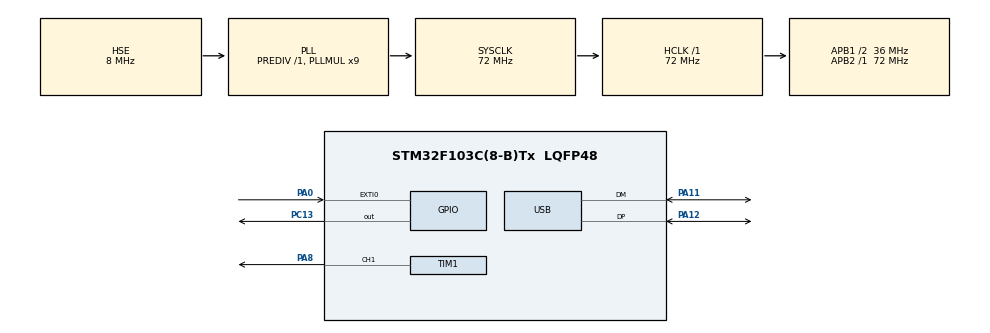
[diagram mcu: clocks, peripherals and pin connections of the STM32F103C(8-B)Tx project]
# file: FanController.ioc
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Mcu.Family=STM32F1
Mcu.Name=STM32F103C(8-B)Tx
Mcu.Package=LQFP48
NVIC.EXTI0_IRQn=true\:0\:0\:false\:false\:true\:true\:true\:true
NVIC.PriorityGroup=NVIC_PRIORITYGROUP_4
NVIC.USB_LP_CAN1_RX0_IRQn=true\:0\:0\:false\:false\:true\:false\:true\:true
PA0-WKUP.GPIO_ModeDefaultEXTI=GPIO_MODE_IT_FALLING
PA0-WKUP.GPIO_PuPd=GPIO_PULLUP
PA0-WKUP.Signal=GPXTI0
PA11.Mode=Device
PA11.Signal=USB_DM
PA12.Mode=Device
PA12.Signal=USB_DP
PA13.Mode=Serial_Wire
PA13.Signal=SYS_JTMS-SWDIO
PA14.Mode=Serial_Wire
PA14.Signal=SYS_JTCK-SWCLK
PA8.Signal=S_TIM1_CH1
PC13-TAMPER-RTC.Signal=GPIO_Output
PD0-OSC_IN.Mode=HSE-External-Oscillator
PD0-OSC_IN.Signal=RCC_OSC_IN
PD1-OSC_OUT.Mode=HSE-External-Oscillator
PD1-OSC_OUT.Signal=RCC_OSC_OUT
ProjectManager.HeapSize=0x200
ProjectManager.StackSize=0x400
ProjectManager.TargetToolchain=CMake
RCC.AHBFreq_Value=72000000
RCC.APB1CLKDivider=RCC_HCLK_DIV2
RCC.APB1Freq_Value=36000000
RCC.APB1TimFreq_Value=72000000
RCC.APB2Freq_Value=72000000
RCC.APB2TimFreq_Value=72000000
RCC.HCLKFreq_Value=72000000
RCC.PLLMUL=RCC_PLL_MUL9
RCC.SYSCLKFreq_VALUE=72000000
RCC.SYSCLKSource=RCC_SYSCLKSOURCE_PLLCLK
RCC.USBFreq_Value=48000000
RCC.USBPrescaler=RCC_USBCLKSOURCE_PLL_DIV1_5
SH.S_TIM1_CH1.0=TIM1_CH1,PWM Generation1 CH1
TIM1.Channel-PWM\ Generation1\ CH1=TIM_CHANNEL_1
TIM1.Period=319
TIM1.Prescaler=8
USB_DEVICE.CLASS_NAME_FS=CDC
USB_DEVICE.VirtualMode=Cdc
USB_DEVICE.VirtualModeFS=Cdc_FS
VP_TIM1_VS_ClockSourceINT.Mode=Internal
VP_USB_DEVICE_VS_USB_DEVICE_CDC_FS.Mode=CDC_FS
board=custom

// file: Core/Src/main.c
/* USER CODE BEGIN Header */
/**
  ******************************************************************************
  * @file           : main.c
  * @brief          : Main program body
  ******************************************************************************
  * @attention
  *
  * Copyright (c) 2026 STMicroelectronics.
  * All rights reserved.
  *
  * This software is licensed under terms that can be found in the LICENSE file
  * in the root directory of this software component.
  * If no LICENSE file comes with this software, it is provided AS-IS.
  *
  ******************************************************************************
  */
/* USER CODE END Header */
#include "main.h"
#include "usb_device.h"

/* USER CODE BEGIN Includes */
#include "usbd_cdc_if.h"
#include <stdio.h>
#include <string.h>
#include <stdlib.h>
/* USER CODE END Includes */

TIM_HandleTypeDef htim1;

/* USER CODE BEGIN PV */
volatile uint32_t tach_pulse_count = 0;
uint32_t fan_rpm = 0;
uint32_t last_rpm_tick = 0;
uint32_t last_led_tick = 0;

char usb_rx_buffer[64];
volatile uint8_t usb_cmd_ready = 0;
uint16_t current_pwm = 160; // 預設約 50% (0~319)
/* USER CODE END PV */

void SystemClock_Config(void);
static void MX_GPIO_Init(void);
static void MX_TIM1_Init(void);
/* USER CODE BEGIN PFP */
void HAL_TIM_MspPostInit(TIM_HandleTypeDef *htim);
/* USER CODE END PFP */

int main(void)
{

  /* MCU Configuration--------------------------------------------------------*/

  /* Reset of all peripherals, Initializes the Flash interface and the Systick. */
  HAL_Init();

  /* Configure the system clock */
  SystemClock_Config();

  /* Initialize all configured peripherals */
  MX_GPIO_Init();
  MX_TIM1_Init();
  MX_USB_DEVICE_Init();
  /* USER CODE BEGIN 2 */

  // 啟動 TIM1 的 Channel 1 PWM 輸出
  HAL_TIM_PWM_Start(&htim1, TIM_CHANNEL_1);

  // 設定 PWM 的佔空比 (Duty Cycle)
  // 因為我們的 ARR 設定為 319，所以轉速的範圍是 0 (停止) 到 319 (全速)
  // 我們先設定 160，大約是 50% 的轉速
  __HAL_TIM_SET_COMPARE(&htim1, TIM_CHANNEL_1, 10);

  /* USER CODE END 2 */

  /* Infinite loop */
  /* USER CODE BEGIN WHILE */
  while (1)
  {
    uint32_t now = HAL_GetTick();

    // 1. 處理 PC 傳來的 USB 指令 (非阻塞)
    if (usb_cmd_ready)
    {
      usb_cmd_ready = 0;
      if (strncmp(usb_rx_buffer, "PWM:", 4) == 0)
      {
        int val = atoi(&usb_rx_buffer[4]);
        if (val >= 0 && val <= 319)
        {
          current_pwm = (uint16_t)val;
          __HAL_TIM_SET_COMPARE(&htim1, TIM_CHANNEL_1, current_pwm);
        }
      }
    }

    // 2. 每 1000ms 精準結算一次 RPM 並透過 USB 回傳給 PC
    if (now - last_rpm_tick >= 1000)
    {
      // 暫時關閉中斷或直接讀取並清零，避免 Race Condition
      uint32_t pulses = tach_pulse_count;
      tach_pulse_count = 0;
      last_rpm_tick = now;

      fan_rpm = (pulses / 2) * 60;

      // 組裝字串並透過 USB CDC 發送給 PC
      char tx_buf[64];
      int len = snprintf(tx_buf, sizeof(tx_buf), "RPM:%lu,PWM:%u\r\n", fan_rpm, current_pwm);
      CDC_Transmit_FS((uint8_t*)tx_buf, len);
    }

    // 3. 每 500ms 閃爍一次狀態燈 (取代原本會卡死迴圈的 HAL_Delay)
    if (now - last_led_tick >= 500)
    {
      last_led_tick = now;
      HAL_GPIO_TogglePin(GPIOC, GPIO_PIN_13);
    }
    /* USER CODE END WHILE */
  }
}

void SystemClock_Config(void)
{
  RCC_OscInitTypeDef RCC_OscInitStruct = {0};
  RCC_ClkInitTypeDef RCC_ClkInitStruct = {0};
  RCC_PeriphCLKInitTypeDef PeriphClkInit = {0};

  /** Initializes the RCC Oscillators according to the specified parameters
  * in the RCC_OscInitTypeDef structure.
  */
  RCC_OscInitStruct.OscillatorType = RCC_OSCILLATORTYPE_HSE;
  RCC_OscInitStruct.HSEState = RCC_HSE_ON;
  RCC_OscInitStruct.HSEPredivValue = RCC_HSE_PREDIV_DIV1;
  RCC_OscInitStruct.HSIState = RCC_HSI_ON;
  RCC_OscInitStruct.PLL.PLLState = RCC_PLL_ON;
  RCC_OscInitStruct.PLL.PLLSource = RCC_PLLSOURCE_HSE;
  RCC_OscInitStruct.PLL.PLLMUL = RCC_PLL_MUL9;
  if (HAL_RCC_OscConfig(&RCC_OscInitStruct) != HAL_OK)
  {
    Error_Handler();
  }

  /** Initializes the CPU, AHB and APB buses clocks
  */
  RCC_ClkInitStruct.ClockType = RCC_CLOCKTYPE_HCLK|RCC_CLOCKTYPE_SYSCLK
                              |RCC_CLOCKTYPE_PCLK1|RCC_CLOCKTYPE_PCLK2;
  RCC_ClkInitStruct.SYSCLKSource = RCC_SYSCLKSOURCE_PLLCLK;
  RCC_ClkInitStruct.AHBCLKDivider = RCC_SYSCLK_DIV1;
  RCC_ClkInitStruct.APB1CLKDivider = RCC_HCLK_DIV2;
  RCC_ClkInitStruct.APB2CLKDivider = RCC_HCLK_DIV1;

  if (HAL_RCC_ClockConfig(&RCC_ClkInitStruct, FLASH_LATENCY_2) != HAL_OK)
  {
    Error_Handler();
  }
  PeriphClkInit.PeriphClockSelection = RCC_PERIPHCLK_USB;
  PeriphClkInit.UsbClockSelection = RCC_USBCLKSOURCE_PLL_DIV1_5;
  if (HAL_RCCEx_PeriphCLKConfig(&PeriphClkInit) != HAL_OK)
  {
    Error_Handler();
  }
}

static void MX_TIM1_Init(void)
{

  TIM_ClockConfigTypeDef sClockSourceConfig = {0};
  TIM_MasterConfigTypeDef sMasterConfig = {0};
  TIM_OC_InitTypeDef sConfigOC = {0};
  TIM_BreakDeadTimeConfigTypeDef sBreakDeadTimeConfig = {0};

  htim1.Instance = TIM1;
  htim1.Init.Prescaler = 8;
  htim1.Init.CounterMode = TIM_COUNTERMODE_UP;
  htim1.Init.Period = 319;
  htim1.Init.ClockDivision = TIM_CLOCKDIVISION_DIV1;
  htim1.Init.RepetitionCounter = 0;
  htim1.Init.AutoReloadPreload = TIM_AUTORELOAD_PRELOAD_DISABLE;
  if (HAL_TIM_Base_Init(&htim1) != HAL_OK)
  {
    Error_Handler();
  }
  sClockSourceConfig.ClockSource = TIM_CLOCKSOURCE_INTERNAL;
  if (HAL_TIM_ConfigClockSource(&htim1, &sClockSourceConfig) != HAL_OK)
  {
    Error_Handler();
  }
  if (HAL_TIM_PWM_Init(&htim1) != HAL_OK)
  {
    Error_Handler();
  }
  sMasterConfig.MasterOutputTrigger = TIM_TRGO_RESET;
  sMasterConfig.MasterSlaveMode = TIM_MASTERSLAVEMODE_DISABLE;
  if (HAL_TIMEx_MasterConfigSynchronization(&htim1, &sMasterConfig) != HAL_OK)
  {
    Error_Handler();
  }
  sConfigOC.OCMode = TIM_OCMODE_PWM1;
  sConfigOC.Pulse = 0;
  sConfigOC.OCPolarity = TIM_OCPOLARITY_HIGH;
  sConfigOC.OCNPolarity = TIM_OCNPOLARITY_HIGH;
  sConfigOC.OCFastMode = TIM_OCFAST_DISABLE;
  sConfigOC.OCIdleState = TIM_OCIDLESTATE_RESET;
  sConfigOC.OCNIdleState = TIM_OCNIDLESTATE_RESET;
  if (HAL_TIM_PWM_ConfigChannel(&htim1, &sConfigOC, TIM_CHANNEL_1) != HAL_OK)
  {
    Error_Handler();
  }
  sBreakDeadTimeConfig.OffStateRunMode = TIM_OSSR_DISABLE;
  sBreakDeadTimeConfig.OffStateIDLEMode = TIM_OSSI_DISABLE;
  sBreakDeadTimeConfig.LockLevel = TIM_LOCKLEVEL_OFF;
  sBreakDeadTimeConfig.DeadTime = 0;
  sBreakDeadTimeConfig.BreakState = TIM_BREAK_DISABLE;
  sBreakDeadTimeConfig.BreakPolarity = TIM_BREAKPOLARITY_HIGH;
  sBreakDeadTimeConfig.AutomaticOutput = TIM_AUTOMATICOUTPUT_DISABLE;
  if (HAL_TIMEx_ConfigBreakDeadTime(&htim1, &sBreakDeadTimeConfig) != HAL_OK)
  {
    Error_Handler();
  }
  HAL_TIM_MspPostInit(&htim1);

}

static void MX_GPIO_Init(void)
{
  GPIO_InitTypeDef GPIO_InitStruct = {0};

  /* GPIO Ports Clock Enable */
  __HAL_RCC_GPIOC_CLK_ENABLE();
  __HAL_RCC_GPIOD_CLK_ENABLE();
  __HAL_RCC_GPIOA_CLK_ENABLE();

  /*Configure GPIO pin Output Level */
  HAL_GPIO_WritePin(GPIOC, GPIO_PIN_13, GPIO_PIN_RESET);

  /*Configure GPIO pin : PC13 */
  GPIO_InitStruct.Pin = GPIO_PIN_13;
  GPIO_InitStruct.Mode = GPIO_MODE_OUTPUT_PP;
  GPIO_InitStruct.Pull = GPIO_NOPULL;
  GPIO_InitStruct.Speed = GPIO_SPEED_FREQ_LOW;
  HAL_GPIO_Init(GPIOC, &GPIO_InitStruct);

  /*Configure GPIO pin : PA0 */
  GPIO_InitStruct.Pin = GPIO_PIN_0;
  GPIO_InitStruct.Mode = GPIO_MODE_IT_FALLING;
  GPIO_InitStruct.Pull = GPIO_PULLUP;
  HAL_GPIO_Init(GPIOA, &GPIO_InitStruct);

  /* EXTI interrupt init*/
  HAL_NVIC_SetPriority(EXTI0_IRQn, 0, 0);
  HAL_NVIC_EnableIRQ(EXTI0_IRQn);

}

/* USER CODE BEGIN 4 */
// 這是 HAL 庫專屬的外部中斷回呼函數
void HAL_GPIO_EXTI_Callback(uint16_t GPIO_Pin)
{
  if (GPIO_Pin == GPIO_PIN_0) // 確認是 PA0 觸發的中斷
  {
    // 使用 static 變數記錄上一次觸發的時間
    static uint32_t last_irq_time = 0;
    uint32_t current_time = HAL_GetTick(); // 取得現在的時間 (單位：毫秒)

    // 軟體濾波：兩次脈衝間隔必須大於等於 2 毫秒 (最高支援到 15000 RPM 才有效)
    // 這樣可以完美過濾掉 25kHz (間隔 0.04 毫秒) 的串擾雜訊
    if (current_time - last_irq_time >= 2)
    {
      tach_pulse_count++; // 脈衝數 +1
      last_irq_time = current_time; // 更新最後觸發時間
    }
  }
}
/* USER CODE END 4 */

void Error_Handler(void)
{
  __disable_irq();
  while (1)
  {
  }
}
